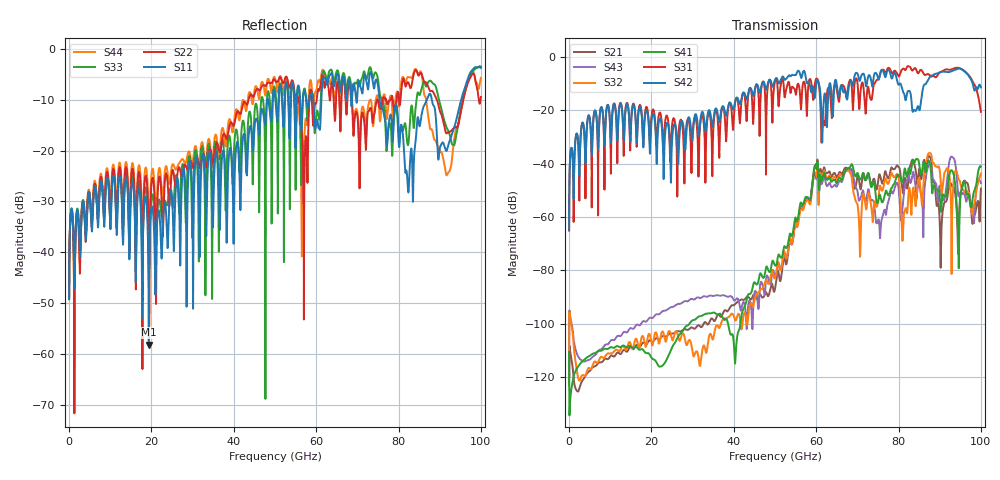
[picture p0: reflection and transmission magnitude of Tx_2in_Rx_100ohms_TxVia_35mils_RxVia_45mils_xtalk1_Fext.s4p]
! Info: Touchstone file created by Circ.  Input file=Tx_2in_Rx_100ohms_TxVia_35mils_RxVia_45mils.circ
# Hz S RI R 50
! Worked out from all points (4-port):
!   10000 points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, 10 MHz to 100 GHz, reference 50 ohm
!   strongest paths, dB at 10 MHz, 25.01 GHz, 50.01 GHz, 75.01 GHz, 100 GHz:
!     S42: -64.7, -31.5, -8.6, -7.9, -11.5
!     S31: -65.1, -25.5, -9.1, -8.5, -20.6
!     S41: -110.5, -108.8, -78.1, -54.3, -41.1
!     S32: -123.1, -105.9, -82.8, -54.4, -43.7
!     S43: -119.2, -93.7, -81.8, -61.2, -47.3
!     S21: -113.1, -103.7, -86.9, -47.3, -49.3
!   lowest |S11| = -58.1 dB at 19.36 GHz (marker M1), VSWR 1.00, Z = 49.9 + j0.00344 ohm
!   |S11| at or under -10 dB: start of sweep to 48.1 GHz; 75.42 GHz to 86.86 GHz (11.44 GHz wide, 14.1 % of centre); 88.08 GHz to 95.21 GHz (7.125 GHz wide, 7.77 % of centre) (the widest 3 of 14)
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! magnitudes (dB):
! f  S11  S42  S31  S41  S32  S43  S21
! 10 MHz  -49.1  -64.7  -65.1  -110.5  -123.1  -119.2  -113.1
! 4.75 GHz  -28.4  -21.9  -22.0  -112.2  -116.5  -113.5  -117.9
! 19.36 GHz  -58.1  -25.8  -24.9  -111.1  -103.8  -97.9  -106.4
! 51.28 GHz  -7.1  -9.0  -11.8  -75.0  -79.9  -78.9  -84.0
! 59.95 GHz  -14.9  -11.0  -8.3  -41.2  -43.9  -44.9  -40.3
! 94.52 GHz  -12.3  -4.4  -4.1  -69.2  -45.6  -51.9  -71.1
! 100 GHz  -3.7  -11.5  -20.6  -41.1  -43.7  -47.3  -49.3
